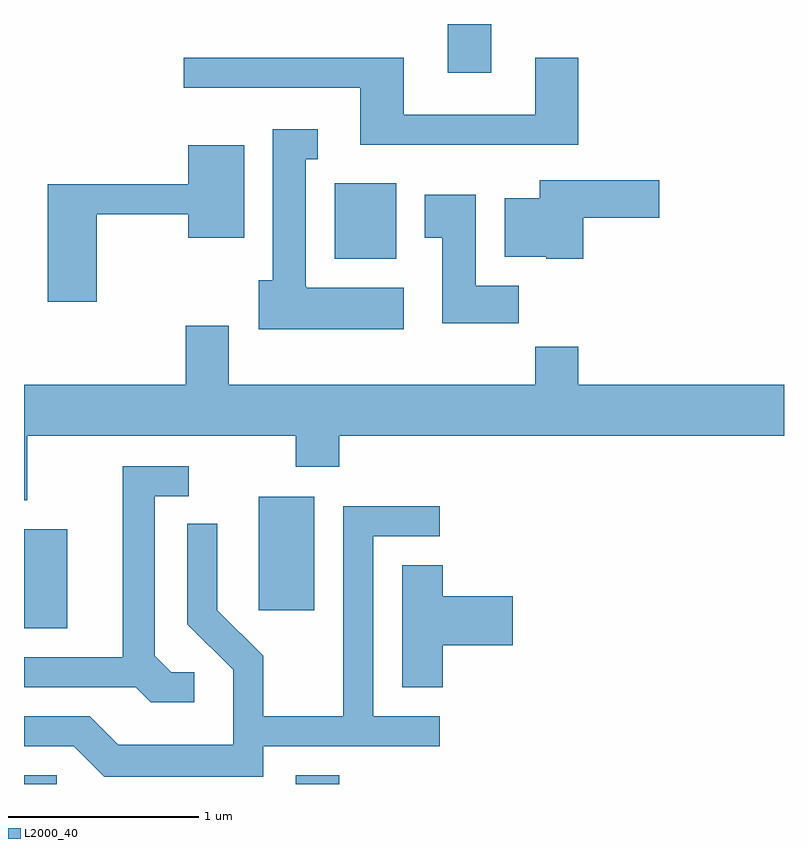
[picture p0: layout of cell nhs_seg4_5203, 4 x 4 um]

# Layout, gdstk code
import gdstk
lib = gdstk.Library(unit=1e-6, precision=1e-09)
def R(c, l, rs):  # rectangles x0, y0, x1, y1
    for r in rs: c.add(gdstk.rectangle(r[:2], r[2:], *l))
def P(c, l, *ps):  # polygons
    for p in ps: c.add(gdstk.Polygon(p, *l))
L2000_40 = (2000, 40)

nhs_seg4_5203 = lib.new_cell('nhs_seg4_5203')
R(nhs_seg4_5203, L2000_40, [(337.611,1323.982,337.784,1324.029), (339.041,1323.982,339.269,1324.029), (337.611,1324.801,337.839,1325.324), (338.846,1324.896,339.139,1325.494), (339.246,1326.746,339.569,1327.144), (339.841,1327.726,340.069,1327.982)])
P(nhs_seg4_5203, L2000_40, [(340.529,1327.804),(340.301,1327.804),(340.301,1327.504),(339.609,1327.504),(339.609,1327.804),(338.453,1327.804),(338.453,1327.646),(339.381,1327.646),(339.381,1327.346),(340.529,1327.346)],
  [(339.609,1326.594),(339.1,1326.594),(339.1,1326.6),(339.094,1326.6),(339.094,1327.271),(339.158,1327.271),(339.158,1327.429),(338.921,1327.429),(338.921,1326.634),(338.846,1326.634),(338.846,1326.376),(339.609,1326.376)],
  [(337.994,1326.981),(338.476,1326.981),(338.476,1326.856),(338.769,1326.856),(338.769,1327.344),(338.476,1327.344),(338.476,1327.139),(337.736,1327.139),(337.736,1326.521),(337.994,1326.521)],
  [(340.554,1326.961),(340.954,1326.961),(340.954,1327.159),(340.326,1327.159),(340.326,1327.064),(340.141,1327.064),(340.141,1326.756),(340.36,1326.756),(340.36,1326.746),(340.554,1326.746)],
  [(340.214,1326.604),(339.989,1326.604),(339.989,1327.084),(339.721,1327.084),(339.721,1326.856),(339.811,1326.856),(339.811,1326.406),(340.214,1326.406)],
  [(337.629,1325.816),(339.041,1325.816),(339.041,1325.651),(339.269,1325.651),(339.269,1325.816),(341.611,1325.816),(341.611,1326.084),(340.529,1326.084),(340.529,1326.284),(340.301,1326.284),(340.301,1326.084),(338.689,1326.084),(338.689,1326.394),(338.461,1326.394),(338.461,1326.084),(337.611,1326.084),(337.611,1325.476),(337.629,1325.476)],
  [(338.508,1324.569),(338.387,1324.569),(338.299,1324.657),(338.299,1325.496),(338.478,1325.496),(338.478,1325.654),(338.131,1325.654),(338.131,1324.649),(337.611,1324.649),(337.611,1324.491),(338.199,1324.491),(338.279,1324.411),(338.508,1324.411)],
  [(338.869,1324.181),(339.798,1324.181),(339.798,1324.339),(339.449,1324.339),(339.449,1325.286),(339.798,1325.286),(339.798,1325.444),(339.291,1325.444),(339.291,1324.339),(338.869,1324.339),(338.869,1324.657),(338.629,1324.897),(338.629,1325.353),(338.471,1325.353),(338.471,1324.824),(338.711,1324.584),(338.711,1324.189),(338.107,1324.189),(337.957,1324.339),(337.611,1324.339),(337.611,1324.181),(337.874,1324.181),(338.034,1324.021),(338.869,1324.021)],
  [(339.814,1324.711),(340.184,1324.711),(340.184,1324.969),(339.814,1324.969),(339.814,1325.134),(339.601,1325.134),(339.601,1324.491),(339.814,1324.491)])

lib.write_gds('nhs_seg4_5203.gds')
